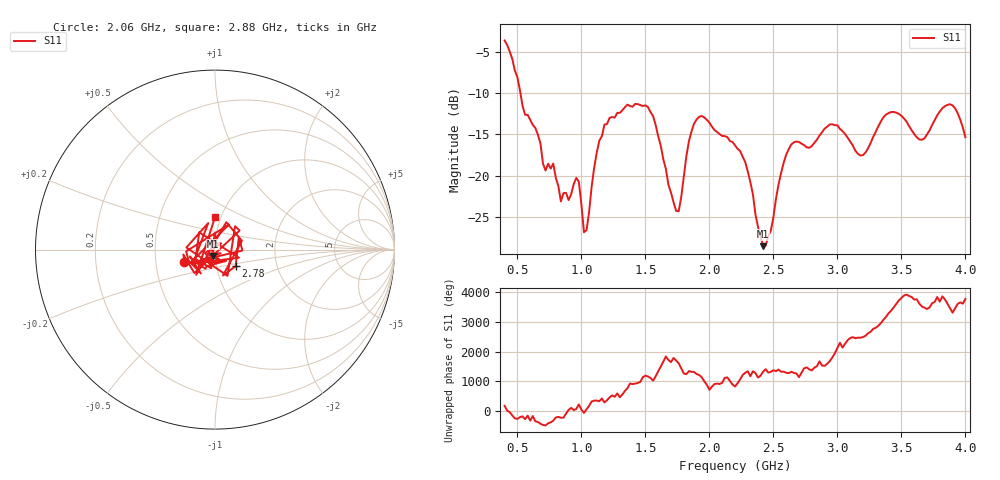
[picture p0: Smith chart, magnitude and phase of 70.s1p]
!Created with skrf (http://scikit-rf.org).
# Hz S RI R 50.0
!freq ReS11 ImS11
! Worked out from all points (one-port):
!   181 points, 400 MHz to 4 GHz, reference 50 ohm
!   lowest |S11| = -28.6 dB at 2.42 GHz (marker M1), VSWR 1.08, Z = 48.5 - j3.38 ohm
!   |S11| at or under -10 dB: 523.6 MHz to end of sweep
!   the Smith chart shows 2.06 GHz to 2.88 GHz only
!   S11 on the Smith chart (normalised r, x): 2.06 GHz: 0.70, -0.10; 2.78 GHz: 1.24, -0.23; 2.88 GHz: 0.94, +0.36
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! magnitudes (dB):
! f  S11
! 400 MHz  -3.6
! 720 MHz  -19.4
! 780 MHz  -18.5
! 840 MHz  -23.1
! 860 MHz  -22.1
! 980 MHz  -20.7
! 1.02 GHz  -26.9
! 1.04 GHz  -26.6
! 1.14 GHz  -15.8
! 1.3 GHz  -12.4
! 1.52 GHz  -11.7
! 1.76 GHz  -24.3
! 1.88 GHz  -13.7
! 2.06 GHz  -14.7
! 2.2 GHz  -16.3
! 2.28 GHz  -18.3
! 2.42 GHz  -28.6
! 2.58 GHz  -18.5
! 2.66 GHz  -16.0
! 2.78 GHz  -16.6
! 2.88 GHz  -14.7
! 3.1 GHz  -15.9
! 3.2 GHz  -17.5
! 3.42 GHz  -12.3
! 3.56 GHz  -14.0
! 3.68 GHz  -15.5
! 3.88 GHz  -11.3
! 4 GHz  -15.3
